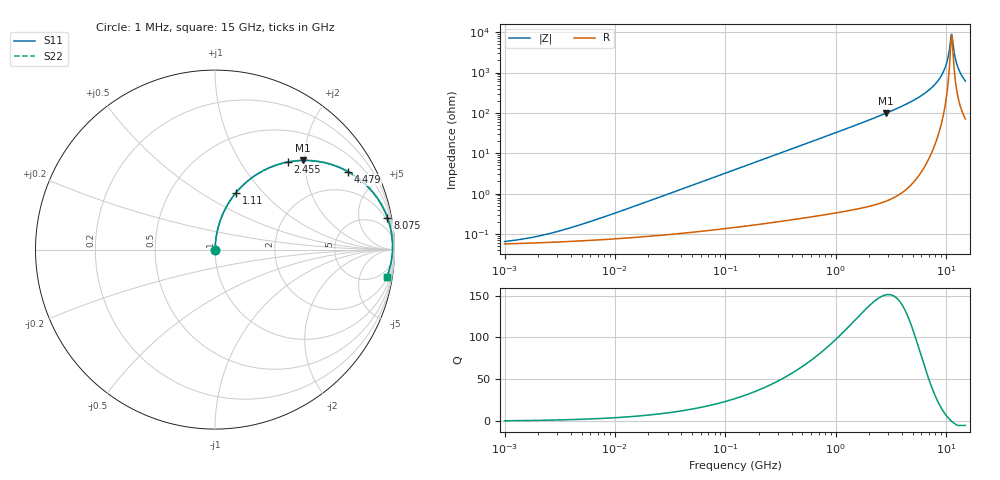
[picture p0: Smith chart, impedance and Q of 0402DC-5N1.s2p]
# MHz  S  MA  R  50
!Freq  MagS11  AngS11  MagS21  AngS21  MagS12  AngS12  MagS22  AngS22
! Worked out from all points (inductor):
!   801 points, 1 MHz to 15 GHz, reference 50 ohm
!   read as one part in series: L = 5.1 nH near 6.688 MHz
!   highest Q = 151 at 2.87 GHz (marker M1), where L = 5.46 nH
!   self-resonance near 11.17 GHz
!   S11 on the Smith chart (normalised r, x): 1 MHz: 1.00, +0.00; 1.11 GHz: 1.01, +0.72; 2.455 GHz: 1.01, +1.65; 4.479 GHz: 1.03, +3.41; 8.075 GHz: 1, +11; 15 GHz: 2, -12
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1  0.0006518 29.4  0.9994 -0.0  0.9994 -0.0  0.0006518 29.4
2.159231  0.0009214 48.6  0.9994 -0.0  0.9994 -0.0  0.0009214 48.6
5.011168  0.001741 67.0  0.9993 -0.1  0.9993 -0.1  0.001741 67.0
24.81158  0.007996 83.0  0.9991 -0.5  0.9991 -0.5  0.007996 83.0
122.8485  0.03931 85.6  0.9978 -2.3  0.9978 -2.3  0.03931 85.6
608.2547  0.1914 78.2  0.9789 -11.0  0.9789 -11.0  0.1914 78.2
1109.831  0.337 69.8  0.9383 -19.7  0.9383 -19.7  0.337 69.8
2454.724  0.6347 50.2  0.7684 -39.4  0.7684 -39.4  0.6347 50.2
2870.168  0.699 45.3  0.7105 -44.3  0.7105 -44.3  0.699 45.3
3048.066  0.7231 43.3  0.6859 -46.3  0.6859 -46.3  0.7231 43.3
4478.927  0.8597 30.3  0.504 -59.3  0.504 -59.3  0.8597 30.3
6272.344  0.9418 18.8  0.3228 -70.3  0.3228 -70.3  0.9418 18.8
8074.614  0.9768 10.5  0.183 -77.5  0.183 -77.5  0.9768 10.5
9671.04  0.9882 4.8  0.08354 -79.5  0.08354 -79.5  0.9882 4.8
10270.47  0.9895 2.9  0.05085 -76.6  0.05085 -76.6  0.9895 2.9
10907.05  0.9896 1.0  0.01982 -57.8  0.01982 -57.8  0.9896 1.0
11172.6  0.9893 0.2  0.01134 -19.1  0.01134 -19.1  0.9893 0.2
11583.09  0.9885 -0.9  0.01965 53.6  0.01965 53.6  0.9885 -0.9
12301.04  0.9861 -2.8  0.05049 72.7  0.05049 72.7  0.9861 -2.8
12907.3  0.9834 -4.3  0.07636 75.3  0.07636 75.3  0.9834 -4.3
13873.18  0.9777 -6.6  0.1154 75.6  0.1154 75.6  0.9777 -6.6
15000  0.9696 -9.0  0.1576 74.4  0.1576 74.4  0.9696 -9.0
